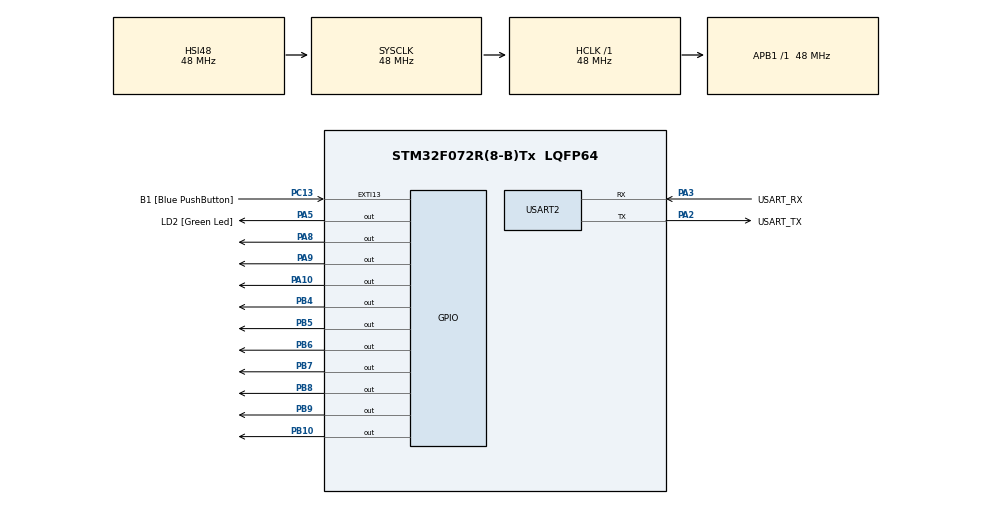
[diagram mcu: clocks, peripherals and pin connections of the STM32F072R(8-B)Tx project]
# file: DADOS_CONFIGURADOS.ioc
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Mcu.Family=STM32F0
Mcu.Name=STM32F072R(8-B)Tx
Mcu.Package=LQFP64
PA10.GPIO_ModeDefaultOutputPP=GPIO_MODE_OUTPUT_PP
PA10.Signal=GPIO_Output
PA13.GPIO_Label=TMS
PA13.Mode=Serial_Wire
PA13.Signal=SYS_SWDIO
PA14.GPIO_Label=TCK
PA14.Mode=Serial_Wire
PA14.Signal=SYS_SWCLK
PA2.GPIO_Label=USART_TX
PA2.GPIO_Mode=GPIO_MODE_AF_PP
PA2.GPIO_PuPd=GPIO_NOPULL
PA2.GPIO_Speed=GPIO_SPEED_FREQ_LOW
PA2.Mode=Asynchronous
PA2.Signal=USART2_TX
PA3.GPIO_Label=USART_RX
PA3.GPIO_Mode=GPIO_MODE_AF_PP
PA3.GPIO_PuPd=GPIO_NOPULL
PA3.GPIO_Speed=GPIO_SPEED_FREQ_LOW
PA3.Mode=Asynchronous
PA3.Signal=USART2_RX
PA5.GPIO_Label=LD2 [Green Led]
PA5.GPIO_Mode=GPIO_MODE_OUTPUT_PP
PA5.GPIO_PuPd=GPIO_NOPULL
PA5.GPIO_Speed=GPIO_SPEED_FREQ_LOW
PA5.Signal=GPIO_Output
PA8.GPIO_ModeDefaultOutputPP=GPIO_MODE_OUTPUT_PP
PA8.Signal=GPIO_Output
PA9.GPIO_ModeDefaultOutputPP=GPIO_MODE_OUTPUT_PP
PA9.Signal=GPIO_Output
PB10.GPIO_ModeDefaultOutputPP=GPIO_MODE_OUTPUT_PP
PB10.Signal=GPIO_Output
PB4.GPIO_ModeDefaultOutputPP=GPIO_MODE_OUTPUT_PP
PB4.Signal=GPIO_Output
PB5.GPIO_ModeDefaultOutputPP=GPIO_MODE_OUTPUT_PP
PB5.Signal=GPIO_Output
PB6.GPIO_ModeDefaultOutputPP=GPIO_MODE_OUTPUT_PP
PB6.Signal=GPIO_Output
PB7.GPIO_ModeDefaultOutputPP=GPIO_MODE_OUTPUT_PP
PB7.Signal=GPIO_Output
PB8.GPIO_ModeDefaultOutputPP=GPIO_MODE_OUTPUT_PP
PB8.Signal=GPIO_Output
PB9.GPIO_ModeDefaultOutputPP=GPIO_MODE_OUTPUT_PP
PB9.Signal=GPIO_Output
PC13.GPIO_Label=B1 [Blue PushButton]
PC13.GPIO_ModeDefaultEXTI=GPIO_MODE_IT_FALLING
PC13.Signal=GPXTI13
PC14-OSC32_IN.Mode=LSE-External-Oscillator
PC14-OSC32_IN.Signal=RCC_OSC32_IN
PC15-OSC32_OUT.Mode=LSE-External-Oscillator
PC15-OSC32_OUT.Signal=RCC_OSC32_OUT
PF0-OSC_IN.Mode=HSE-External-Clock-Source
PF0-OSC_IN.Signal=RCC_OSC_IN
PF1-OSC_OUT.Signal=RCC_OSC_OUT
ProjectManager.HeapSize=0x200
ProjectManager.StackSize=0x400
ProjectManager.TargetToolchain=MDK-ARM V5
RCC.AHBFreq_Value=48000000
RCC.APB1Freq_Value=48000000
RCC.APB1TimFreq_Value=48000000
RCC.FLatency-AdvancedSettings=FLASH_LATENCY_1
RCC.HCLKFreq_Value=48000000
RCC.PLLDivider=RCC_PREDIV_DIV2
RCC.PLLMUL=RCC_PLL_MUL12
RCC.PREFETCH_ENABLE-AdvancedSettings=1
RCC.SYSCLKFreq_VALUE=48000000
RCC.SYSCLKSource=RCC_SYSCLKSOURCE_HSI48
USART2.VirtualMode=VM_ASYNC
USART2.VirtualMode-Asynchronous=VM_ASYNC
board=NUCLEO-F072RB

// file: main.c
/* USER CODE BEGIN Header */
/**
  ******************************************************************************
  * @file           : main.c
  * @brief          : Main program body
  ******************************************************************************
  ** This notice applies to any and all portions of this file
  * that are not between comment pairs USER CODE BEGIN and
  * USER CODE END. Other portions of this file, whether
  * inserted by the user or by software development tools
  * are owned by their respective copyright owners.
  *
  * COPYRIGHT(c) 2019 STMicroelectronics
  *
  * Redistribution and use in source and binary forms, with or without modification,
  * are permitted provided that the following conditions are met:
  *   1. Redistributions of source code must retain the above copyright notice,
  *      this list of conditions and the following disclaimer.
  *   2. Redistributions in binary form must reproduce the above copyright notice,
  *      this list of conditions and the following disclaimer in the documentation
  *      and/or other materials provided with the distribution.
  *   3. Neither the name of STMicroelectronics nor the names of its contributors
  *      may be used to endorse or promote products derived from this software
  *      without specific prior written permission.
  *
  * THIS SOFTWARE IS PROVIDED BY THE COPYRIGHT HOLDERS AND CONTRIBUTORS "AS IS"
  * AND ANY EXPRESS OR IMPLIED WARRANTIES, INCLUDING, BUT NOT LIMITED TO, THE
  * IMPLIED WARRANTIES OF MERCHANTABILITY AND FITNESS FOR A PARTICULAR PURPOSE ARE
  * DISCLAIMED. IN NO EVENT SHALL THE COPYRIGHT HOLDER OR CONTRIBUTORS BE LIABLE
  * FOR ANY DIRECT, INDIRECT, INCIDENTAL, SPECIAL, EXEMPLARY, OR CONSEQUENTIAL
  * DAMAGES (INCLUDING, BUT NOT LIMITED TO, PROCUREMENT OF SUBSTITUTE GOODS OR
  * SERVICES; LOSS OF USE, DATA, OR PROFITS; OR BUSINESS INTERRUPTION) HOWEVER
  * CAUSED AND ON ANY THEORY OF LIABILITY, WHETHER IN CONTRACT, STRICT LIABILITY,
  * OR TORT (INCLUDING NEGLIGENCE OR OTHERWISE) ARISING IN ANY WAY OUT OF THE USE
  * OF THIS SOFTWARE, EVEN IF ADVISED OF THE POSSIBILITY OF SUCH DAMAGE.
  *
  ******************************************************************************
  */
/* USER CODE END Header */

#include "main.h"

/* USER CODE BEGIN Includes */
#include "stdlib.h"
/* USER CODE END Includes */

/* USER CODE BEGIN PD */
// OUTPUTS -> PUSH-PULL
// INPUT -> PULL-UP
//BOTAO
#define BUTTON (GPIOB->IDR & (1 << 10)) // PB10 -> DOURADO
//TRANSISTORES
#define TRANS_ESQ_1 GPIOB->BSRR = (1 << 9) // PB9 -> LARANJA
#define TRANS_ESQ_0 GPIOB->BSRR = (1 << 25)
#define TRANS_DIR_1 GPIOB->BSRR = (1 << 8) //PB8 -> AMARELO
#define TRANS_DIR_0 GPIOB->BSRR = (1 << 24)
//LEDS
#define L1_1 (GPIOA->BSRR = 1 << 8) //PA8 -> AZUL MARINHO
#define L1_0 (GPIOA->BSRR = 1 << 24)
#define L2_1 (GPIOA->BSRR = 1 << 9) //PA9 -> VERDE AGUA
#define L2_0 (GPIOA->BSRR = 1 << 25)
#define L3_1 (GPIOA->BSRR = 1 << 10) //PA10 -> ROXO
#define L3_0 (GPIOA->BSRR = 1 << 26)
#define L4_1 (GPIOB->BSRR = 1 << 4) //PB4 -> CINZA
#define L4_0 (GPIOB->BSRR = 1 << 20)
#define L5_1 (GPIOB->BSRR = 1 << 5) //PB5 -> BRANCO
#define L5_0 (GPIOB->BSRR = 1 << 21)
#define L6_1 (GPIOB->BSRR = 1 << 6) //PB6 -> PRETO
#define L6_0 (GPIOB->BSRR = 1 << 22)
#define L7_1 (GPIOB->BSRR = 1 << 7) //PB7 -> VERMELHO
#define L7_0 (GPIOB->BSRR = 1 << 23)
/* USER CODE END PD */

UART_HandleTypeDef huart2;

/* USER CODE BEGIN PV */
//ORDEM DOS LEDS LIGADOS
const unsigned char tab[6] = {0x08, 0x14, 0x1C, 0x55, 0x5D, 0x77};
/* USER CODE END PV */

void SystemClock_Config(void);
static void MX_GPIO_Init(void);
static void MX_USART2_UART_Init(void);
/* USER CODE BEGIN PFP */
int mede(void);
int testaBit(int, int);
void passaDados(int);
/* USER CODE END PFP */

int main(void)
{
  /* USER CODE BEGIN 1 */
  int X1, X2, X3, N, DIR, ESQ, t = 1;
  /* USER CODE END 1 */

  /* MCU Configuration--------------------------------------------------------*/

  /* Reset of all peripherals, Initializes the Flash interface and the Systick. */
  HAL_Init();

  /* Configure the system clock */
  SystemClock_Config();

  /* Initialize all configured peripherals */
  MX_GPIO_Init();
  MX_USART2_UART_Init();
  /* USER CODE BEGIN 2 */
  //X1 =  mede();
  //X2 =  mede();
  //X3 =  mede();

  //N = ((1 << 10) * (X1 + X2 + X3)) % 38000;
  N = 123;
  srand(N);

  DIR = rand() % 6;
  ESQ = rand() % 6;
  /* USER CODE END 2 */

  /* Infinite loop */
  while (1)
  {

    /* USER CODE BEGIN 3 */
    if (BUTTON == 0)
    { //Se o BUTTON n�o estiver sendo precionado, mostro os dados

      passaDados(tab[DIR]);
      TRANS_DIR_1;
      TRANS_ESQ_0;
      HAL_Delay(5);

      passaDados(tab[ESQ]);
      TRANS_ESQ_1;
      TRANS_DIR_0;
      HAL_Delay(5);
    }
    else
    {

      TRANS_ESQ_0;
      TRANS_DIR_0;
      mede();
      DIR = rand() % 6;
      ESQ = rand() % 6;
      HAL_Delay(5);
    }
  }
  /* USER CODE END 3 */
}

void SystemClock_Config(void)
{
  RCC_OscInitTypeDef RCC_OscInitStruct = {0};
  RCC_ClkInitTypeDef RCC_ClkInitStruct = {0};
  RCC_PeriphCLKInitTypeDef PeriphClkInit = {0};

  /**Initializes the CPU, AHB and APB busses clocks
  */
  RCC_OscInitStruct.OscillatorType = RCC_OSCILLATORTYPE_HSI48;
  RCC_OscInitStruct.HSI48State = RCC_HSI48_ON;
  RCC_OscInitStruct.PLL.PLLState = RCC_PLL_NONE;
  if (HAL_RCC_OscConfig(&RCC_OscInitStruct) != HAL_OK)
  {
    Error_Handler();
  }
  /**Initializes the CPU, AHB and APB busses clocks
  */
  RCC_ClkInitStruct.ClockType = RCC_CLOCKTYPE_HCLK | RCC_CLOCKTYPE_SYSCLK | RCC_CLOCKTYPE_PCLK1;
  RCC_ClkInitStruct.SYSCLKSource = RCC_SYSCLKSOURCE_HSI48;
  RCC_ClkInitStruct.AHBCLKDivider = RCC_SYSCLK_DIV1;
  RCC_ClkInitStruct.APB1CLKDivider = RCC_HCLK_DIV1;

  if (HAL_RCC_ClockConfig(&RCC_ClkInitStruct, FLASH_LATENCY_1) != HAL_OK)
  {
    Error_Handler();
  }
  PeriphClkInit.PeriphClockSelection = RCC_PERIPHCLK_USART2;
  PeriphClkInit.Usart2ClockSelection = RCC_USART2CLKSOURCE_PCLK1;
  if (HAL_RCCEx_PeriphCLKConfig(&PeriphClkInit) != HAL_OK)
  {
    Error_Handler();
  }
}

static void MX_USART2_UART_Init(void)
{

  huart2.Instance = USART2;
  huart2.Init.BaudRate = 38400;
  huart2.Init.WordLength = UART_WORDLENGTH_8B;
  huart2.Init.StopBits = UART_STOPBITS_1;
  huart2.Init.Parity = UART_PARITY_NONE;
  huart2.Init.Mode = UART_MODE_TX_RX;
  huart2.Init.HwFlowCtl = UART_HWCONTROL_NONE;
  huart2.Init.OverSampling = UART_OVERSAMPLING_16;
  huart2.Init.OneBitSampling = UART_ONE_BIT_SAMPLE_DISABLE;
  huart2.AdvancedInit.AdvFeatureInit = UART_ADVFEATURE_NO_INIT;
  if (HAL_UART_Init(&huart2) != HAL_OK)
  {
    Error_Handler();
  }
}

static void MX_GPIO_Init(void)
{
  GPIO_InitTypeDef GPIO_InitStruct = {0};

  /* GPIO Ports Clock Enable */
  __HAL_RCC_GPIOC_CLK_ENABLE();
  __HAL_RCC_GPIOF_CLK_ENABLE();
  __HAL_RCC_GPIOA_CLK_ENABLE();
  __HAL_RCC_GPIOB_CLK_ENABLE();

  /*Configure GPIO pin Output Level */
  HAL_GPIO_WritePin(GPIOA, LD2_Pin | GPIO_PIN_8 | GPIO_PIN_9 | GPIO_PIN_10, GPIO_PIN_RESET);

  /*Configure GPIO pin Output Level */
  HAL_GPIO_WritePin(GPIOB, GPIO_PIN_10 | GPIO_PIN_4 | GPIO_PIN_5 | GPIO_PIN_6 | GPIO_PIN_7 | GPIO_PIN_8 | GPIO_PIN_9, GPIO_PIN_RESET);

  /*Configure GPIO pin : B1_Pin */
  GPIO_InitStruct.Pin = B1_Pin;
  GPIO_InitStruct.Mode = GPIO_MODE_IT_FALLING;
  GPIO_InitStruct.Pull = GPIO_NOPULL;
  HAL_GPIO_Init(B1_GPIO_Port, &GPIO_InitStruct);

  /*Configure GPIO pins : LD2_Pin PA8 PA9 PA10 */
  GPIO_InitStruct.Pin = LD2_Pin | GPIO_PIN_8 | GPIO_PIN_9 | GPIO_PIN_10;
  GPIO_InitStruct.Mode = GPIO_MODE_OUTPUT_PP;
  GPIO_InitStruct.Pull = GPIO_NOPULL;
  GPIO_InitStruct.Speed = GPIO_SPEED_FREQ_LOW;
  HAL_GPIO_Init(GPIOA, &GPIO_InitStruct);

  /*Configure GPIO pins : PB10 PB4 PB5 PB6
                           PB7 PB8 PB9 */
  GPIO_InitStruct.Pin = GPIO_PIN_10 | GPIO_PIN_4 | GPIO_PIN_5 | GPIO_PIN_6 | GPIO_PIN_7 | GPIO_PIN_8 | GPIO_PIN_9;
  GPIO_InitStruct.Mode = GPIO_MODE_OUTPUT_PP;
  GPIO_InitStruct.Pull = GPIO_NOPULL;
  GPIO_InitStruct.Speed = GPIO_SPEED_FREQ_LOW;
  HAL_GPIO_Init(GPIOB, &GPIO_InitStruct);
}

/* USER CODE BEGIN 4 */
int testaBit(int valor, int shift)
{

  return valor & (1 << shift);
}

void passaDados(int valor)
{

  (testaBit(valor, 0)) ? L1_1 : L1_0;
  (testaBit(valor, 1)) ? L2_1 : L2_0;
  (testaBit(valor, 2)) ? L3_1 : L3_0;
  (testaBit(valor, 3)) ? L4_1 : L4_0;
  (testaBit(valor, 4)) ? L5_1 : L5_0;
  (testaBit(valor, 5)) ? L6_1 : L6_0;
  (testaBit(valor, 6)) ? L7_1 : L7_0;
}

// Botao em 1 se nao esta precionado
int mede()
{

  int tempo = 0;

  while (1)
  {

    if (BUTTON == 0)
      return tempo;

    tempo++;

    HAL_Delay(1);
  }
}
/* USER CODE END 4 */

void Error_Handler(void)
{
}

/************************ (C) COPYRIGHT STMicroelectronics *****END OF FILE****/
